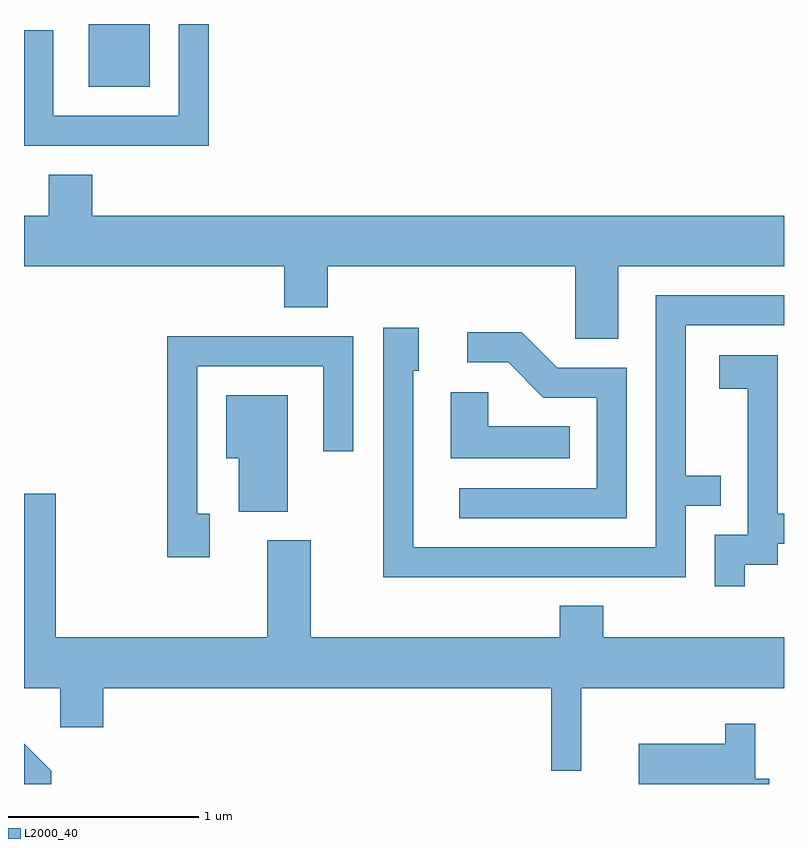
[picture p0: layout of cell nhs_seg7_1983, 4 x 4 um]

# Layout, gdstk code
import gdstk
lib = gdstk.Library(unit=1e-6, precision=1e-09)
def R(c, l, rs):  # rectangles x0, y0, x1, y1
    for r in rs: c.add(gdstk.rectangle(r[:2], r[2:], *l))
def P(c, l, *ps):  # polygons
    for p in ps: c.add(gdstk.Polygon(p, *l))
L2000_40 = (2000, 40)

nhs_seg7_1983 = lib.new_cell('nhs_seg7_1983')
R(nhs_seg7_1983, L2000_40, [(245.951,1721.921,246.274,1722.252)])
P(nhs_seg7_1983, L2000_40, [(246.584,1722.252),(246.426,1722.252),(246.426,1721.769),(245.764,1721.769),(245.764,1722.218),(245.611,1722.218),(245.611,1721.611),(246.584,1721.611)],
  [(248.739,1720.976),(249.611,1720.976),(249.611,1721.244),(245.969,1721.244),(245.969,1721.459),(245.741,1721.459),(245.741,1721.244),(245.611,1721.244),(245.611,1720.976),(246.981,1720.976),(246.981,1720.761),(247.209,1720.761),(247.209,1720.976),(248.511,1720.976),(248.511,1720.596),(248.739,1720.596)],
  [(249.094,1719.716),(249.278,1719.716),(249.278,1719.874),(249.094,1719.874),(249.094,1720.666),(249.611,1720.666),(249.611,1720.824),(248.936,1720.824),(248.936,1719.499),(247.659,1719.499),(247.659,1720.426),(247.689,1720.426),(247.689,1720.654),(247.501,1720.654),(247.501,1719.341),(249.094,1719.341)],
  [(248.784,1720.444),(248.417,1720.444),(248.232,1720.629),(247.943,1720.629),(247.943,1720.471),(248.159,1720.471),(248.344,1720.286),(248.626,1720.286),(248.626,1719.809),(247.903,1719.809),(247.903,1719.651),(248.784,1719.651)],
  [(246.589,1719.674),(246.524,1719.674),(246.524,1720.451),(247.186,1720.451),(247.186,1720.003),(247.344,1720.003),(247.344,1720.609),(246.366,1720.609),(246.366,1719.446),(246.589,1719.446)],
  [(249.404,1719.406),(249.579,1719.406),(249.579,1719.516),(249.611,1719.516),(249.611,1719.674),(249.579,1719.674),(249.579,1720.509),(249.271,1720.509),(249.271,1720.331),(249.421,1720.331),(249.421,1719.564),(249.246,1719.564),(249.246,1719.293),(249.404,1719.293)],
  [(248.483,1720.134),(248.054,1720.134),(248.054,1720.314),(247.856,1720.314),(247.856,1719.966),(248.483,1719.966)],
  [(246.999,1720.299),(246.676,1720.299),(246.676,1719.966),(246.741,1719.966),(246.741,1719.686),(246.999,1719.686)],
  [(248.544,1718.756),(249.611,1718.756),(249.611,1719.024),(248.659,1719.024),(248.659,1719.189),(248.431,1719.189),(248.431,1719.024),(247.119,1719.024),(247.119,1719.534),(246.891,1719.534),(246.891,1719.024),(245.779,1719.024),(245.779,1719.779),(245.611,1719.779),(245.611,1718.756),(245.801,1718.756),(245.801,1718.551),(246.029,1718.551),(246.029,1718.756),(248.386,1718.756),(248.386,1718.323),(248.544,1718.323)],
  [(249.534,1718.279),(249.459,1718.279),(249.459,1718.568),(249.301,1718.568),(249.301,1718.464),(248.846,1718.464),(248.846,1718.252),(249.534,1718.252)],
  [(245.754,1718.322),(245.611,1718.465),(245.611,1718.252),(245.754,1718.252)])

lib.write_gds('nhs_seg7_1983.gds')
